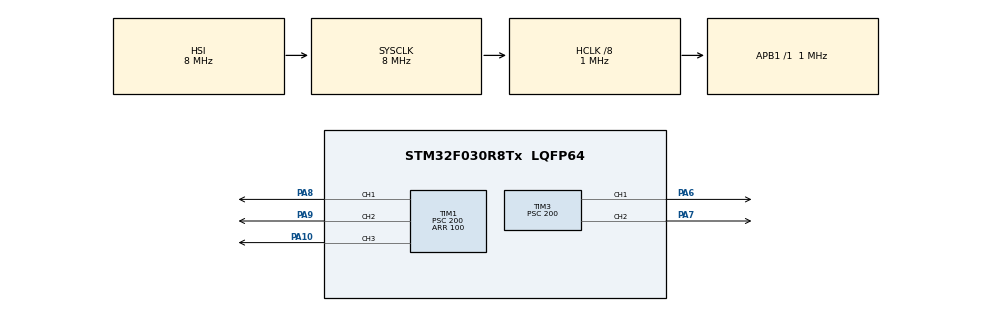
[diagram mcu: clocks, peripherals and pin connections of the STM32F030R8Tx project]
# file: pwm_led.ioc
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Mcu.Family=STM32F0
Mcu.Name=STM32F030R8Tx
Mcu.Package=LQFP64
PA10.Signal=S_TIM1_CH3
PA13.Mode=Serial_Wire
PA13.Signal=SYS_SWDIO
PA14.Mode=Serial_Wire
PA14.Signal=SYS_SWCLK
PA6.Signal=S_TIM3_CH1
PA7.Signal=S_TIM3_CH2
PA8.Signal=S_TIM1_CH1
PA9.Signal=S_TIM1_CH2
PF0-OSC_IN.Mode=HSE-External-Oscillator
PF0-OSC_IN.Signal=RCC_OSC_IN
PF1-OSC_OUT.Mode=HSE-External-Oscillator
PF1-OSC_OUT.Signal=RCC_OSC_OUT
ProjectManager.HeapSize=0x200
ProjectManager.StackSize=0x400
ProjectManager.TargetToolchain=MDK-ARM V5.27
RCC.AHBCLKDivider=RCC_SYSCLK_DIV8
RCC.AHBFreq_Value=1000000
RCC.APB1Freq_Value=1000000
RCC.APB1TimFreq_Value=1000000
RCC.HCLKFreq_Value=1000000
RCC.PLLMUL=RCC_PLL_MUL4
RCC.SYSCLKFreq_VALUE=8000000
SH.S_TIM1_CH1.0=TIM1_CH1,PWM Generation1 CH1
SH.S_TIM1_CH2.0=TIM1_CH2,PWM Generation2 CH2
SH.S_TIM1_CH3.0=TIM1_CH3,PWM Generation3 CH3
SH.S_TIM3_CH1.0=TIM3_CH1,PWM Generation1 CH1
SH.S_TIM3_CH2.0=TIM3_CH2,PWM Generation2 CH2
TIM1.Channel-PWM\ Generation1\ CH1=TIM_CHANNEL_1
TIM1.Channel-PWM\ Generation2\ CH2=TIM_CHANNEL_2
TIM1.Channel-PWM\ Generation3\ CH3=TIM_CHANNEL_3
TIM1.Period=100
TIM1.Prescaler=200
TIM3.Channel-PWM\ Generation1\ CH1=TIM_CHANNEL_1
TIM3.Channel-PWM\ Generation2\ CH2=TIM_CHANNEL_2
TIM3.Period=100
TIM3.Prescaler=200
VP_TIM1_VS_ClockSourceINT.Mode=Internal
VP_TIM3_VS_ClockSourceINT.Mode=Internal
board=custom

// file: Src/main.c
/* USER CODE BEGIN Header */
/**
  ******************************************************************************
  * @file           : main.c
  * @brief          : Main program body
  * @Author         : How Jin Wong
  ******************************************************************************
  * @attention
  *
  * <h2><center>&copy; Copyright (c) 2019 STMicroelectronics.
  * All rights reserved.</center></h2>
  *
  * This software component is licensed by ST under BSD 3-Clause license,
  * the "License"; You may not use this file except in compliance with the
  * License. You may obtain a copy of the License at:
  *                        opensource.org/licenses/BSD-3-Clause
  *
  ******************************************************************************
  */
/* USER CODE END Header */

#include "main.h"
#include <stdio.h>

TIM_HandleTypeDef htim1;
TIM_HandleTypeDef htim3;

void SystemClock_Config(void);
static void MX_GPIO_Init(void);
static void MX_TIM1_Init(void);
static void MX_TIM3_Init(void);

int main(void)
{
    struct motor_mode motor_data;
		motor_data.loop = 1;
    //default and testing position
    // motor_data.Xcoord = 1;
    // motor_data.Ycoord = 1;

    // motor_data.motor1_angle = 180;
    // double degrees2 = 90;
    // double degrees3 = 45;
    // double degrees4 = 30;
    // double degrees5 = 15;

  /* MCU Configuration--------------------------------------------------------*/

  /* Reset of all peripherals, Initializes the Flash interface and the Systick. */
  HAL_Init();
  SystemClock_Config();
  MX_GPIO_Init();
  MX_TIM1_Init();
  MX_TIM3_Init();
	HAL_TIM_PWM_Start(&htim1, TIM_CHANNEL_1);
	HAL_TIM_PWM_Start(&htim1, TIM_CHANNEL_2);
	HAL_TIM_PWM_Start(&htim1, TIM_CHANNEL_3);
	HAL_TIM_PWM_Start(&htim3, TIM_CHANNEL_1);
	HAL_TIM_PWM_Start(&htim3, TIM_CHANNEL_2);

	//TIM1->ARR = 65535;
	//TIM1->CCR1 = 50;
	//TIM1->CCR2 = 50;
	//htim1.Instance->CCR1 = 50;		// 50% duty cycle
	//htim1.Instance->CCR2 = 50;		// 50% duty cycle
	//TIM1->CCR2 = 65535;		// GREEN
	//TIM1->CCR3 = 65535;		// RED
  /* USER CODE END 2 */

  /* Infinite loop */
  /* USER CODE BEGIN WHILE */
  //------------------------------------------------------------------------
  //****Need to check the ON Button before the While Loop*************
  while (1)
  {
    /* USER CODE END WHILE */
			// double dutyCycle1 = motor_Control(degrees1);
			// double dutyCycle2 = motor_Control(degrees2);
			// double dutyCycle3 = motor_Control(degrees3);
			// double dutyCycle4 = motor_Control(degrees4);
			// double dutyCycle5 = motor_Control(degrees5);

    /* USER CODE BEGIN 3 */
			read_IO(&motor_data);
      Move_Decision(&motor_data);
			motor_Control(&motor_data);
			htim3.Instance->CCR2 = 1;		// Motor 5 (PIN D11)
			HAL_Delay(200000);
			//htim1.Instance->CCR1 = 12;		// Motor 1 (PIN D7) 12 is at 0 degree, 3 is at 90 degrees
			__HAL_TIM_SET_COMPARE(&htim1, TIM_CHANNEL_1, 500);
			HAL_Delay(200000);
			//htim1.Instance->CCR2 = 0;
			HAL_Delay(200000);
			//htim1.Instance->CCR3 = 0;
			HAL_Delay(200000);
			//htim3.Instance->CCR1 = 0;

			//htim1.Instance->CCR2 = motor_data.dutyCycle2 + 1.3;		// Motor 2 (PIN D8) 7 is 90 degrees
			//htim1.Instance->CCR3 = motor_data.dutyCycle3 - 4;		// Motor 3 (PIN D2)   //10 (180 degree) 3 to 10 (140 degree range)
			//htim3.Instance->CCR1 = motor_data.dutyCycle4 + 3;		// Motor 4 (PIN D12)  //3 to 12 (180 degree)

			htim3.Instance->CCR2 = 12;		// Motor 5 (PIN D11)
			htim1.Instance->CCR1 = 200;		// Motor 1 (PIN D7)

			HAL_Delay(500000);
			//for (int i = 0; i < 15; i++)
			//{
			//	htim3.Instance->CCR2 = i;		// Motor 5 (PIN D11)
			//}
			HAL_Delay(20000);
			motor_data.loop++;

			if (motor_data.loop > 3)
			{
				motor_data.loop = 2;
			}
			//htim3.Instance->CCR2 = 3;
		// }

		//htim1.Instance->CCR1 = dutyCycle + 5;		// 10% duty cycle
		//htim1.Instance->CCR2 = dutyCycle + 5;		// 10% duty cycle

		//HAL_Delay(2000);
  }
  /* USER CODE END 3 */
}

void SystemClock_Config(void)
{
  RCC_OscInitTypeDef RCC_OscInitStruct = {0};
  RCC_ClkInitTypeDef RCC_ClkInitStruct = {0};

  /** Initializes the CPU, AHB and APB busses clocks
  */
  RCC_OscInitStruct.OscillatorType = RCC_OSCILLATORTYPE_HSI;
  RCC_OscInitStruct.HSIState = RCC_HSI_ON;
  RCC_OscInitStruct.HSICalibrationValue = RCC_HSICALIBRATION_DEFAULT;
  RCC_OscInitStruct.PLL.PLLState = RCC_PLL_NONE;
  if (HAL_RCC_OscConfig(&RCC_OscInitStruct) != HAL_OK)
  {
    Error_Handler();
  }
  /** Initializes the CPU, AHB and APB busses clocks
  */
  RCC_ClkInitStruct.ClockType = RCC_CLOCKTYPE_HCLK|RCC_CLOCKTYPE_SYSCLK
                              |RCC_CLOCKTYPE_PCLK1;
  RCC_ClkInitStruct.SYSCLKSource = RCC_SYSCLKSOURCE_HSI;
  RCC_ClkInitStruct.AHBCLKDivider = RCC_SYSCLK_DIV8;
  RCC_ClkInitStruct.APB1CLKDivider = RCC_HCLK_DIV1;

  if (HAL_RCC_ClockConfig(&RCC_ClkInitStruct, FLASH_LATENCY_0) != HAL_OK)
  {
    Error_Handler();
  }
}

static void MX_TIM1_Init(void)
{

  TIM_ClockConfigTypeDef sClockSourceConfig = {0};
  TIM_MasterConfigTypeDef sMasterConfig = {0};
  TIM_OC_InitTypeDef sConfigOC = {0};
  TIM_BreakDeadTimeConfigTypeDef sBreakDeadTimeConfig = {0};

  htim1.Instance = TIM1;
  htim1.Init.Prescaler = 2;
  htim1.Init.CounterMode = TIM_COUNTERMODE_UP;
  htim1.Init.Period = 10000;
  htim1.Init.ClockDivision = TIM_CLOCKDIVISION_DIV1;
  htim1.Init.RepetitionCounter = 0;
  htim1.Init.AutoReloadPreload = TIM_AUTORELOAD_PRELOAD_DISABLE;
  if (HAL_TIM_Base_Init(&htim1) != HAL_OK)
  {
    Error_Handler();
  }
  sClockSourceConfig.ClockSource = TIM_CLOCKSOURCE_INTERNAL;
  if (HAL_TIM_ConfigClockSource(&htim1, &sClockSourceConfig) != HAL_OK)
  {
    Error_Handler();
  }
  if (HAL_TIM_PWM_Init(&htim1) != HAL_OK)
  {
    Error_Handler();
  }
  sMasterConfig.MasterOutputTrigger = TIM_TRGO_RESET;
  sMasterConfig.MasterSlaveMode = TIM_MASTERSLAVEMODE_DISABLE;
  if (HAL_TIMEx_MasterConfigSynchronization(&htim1, &sMasterConfig) != HAL_OK)
  {
    Error_Handler();
  }
  sConfigOC.OCMode = TIM_OCMODE_PWM1;
  sConfigOC.Pulse = 0;
  sConfigOC.OCPolarity = TIM_OCPOLARITY_HIGH;
  sConfigOC.OCNPolarity = TIM_OCNPOLARITY_HIGH;
  sConfigOC.OCFastMode = TIM_OCFAST_DISABLE;
  sConfigOC.OCIdleState = TIM_OCIDLESTATE_RESET;
  sConfigOC.OCNIdleState = TIM_OCNIDLESTATE_RESET;
  if (HAL_TIM_PWM_ConfigChannel(&htim1, &sConfigOC, TIM_CHANNEL_1) != HAL_OK)
  {
    Error_Handler();
  }
  if (HAL_TIM_PWM_ConfigChannel(&htim1, &sConfigOC, TIM_CHANNEL_2) != HAL_OK)
  {
    Error_Handler();
  }
  if (HAL_TIM_PWM_ConfigChannel(&htim1, &sConfigOC, TIM_CHANNEL_3) != HAL_OK)
  {
    Error_Handler();
  }
  sBreakDeadTimeConfig.OffStateRunMode = TIM_OSSR_DISABLE;
  sBreakDeadTimeConfig.OffStateIDLEMode = TIM_OSSI_DISABLE;
  sBreakDeadTimeConfig.LockLevel = TIM_LOCKLEVEL_OFF;
  sBreakDeadTimeConfig.DeadTime = 0;
  sBreakDeadTimeConfig.BreakState = TIM_BREAK_DISABLE;
  sBreakDeadTimeConfig.BreakPolarity = TIM_BREAKPOLARITY_HIGH;
  sBreakDeadTimeConfig.AutomaticOutput = TIM_AUTOMATICOUTPUT_DISABLE;
  if (HAL_TIMEx_ConfigBreakDeadTime(&htim1, &sBreakDeadTimeConfig) != HAL_OK)
  {
    Error_Handler();
  }
  HAL_TIM_MspPostInit(&htim1);

}

static void MX_TIM3_Init(void)
{

  TIM_ClockConfigTypeDef sClockSourceConfig = {0};
  TIM_MasterConfigTypeDef sMasterConfig = {0};
  TIM_OC_InitTypeDef sConfigOC = {0};

  htim3.Instance = TIM3;
  htim3.Init.Prescaler = 200;
  htim3.Init.CounterMode = TIM_COUNTERMODE_UP;
  htim3.Init.Period = 100;
  htim3.Init.ClockDivision = TIM_CLOCKDIVISION_DIV1;
  htim3.Init.AutoReloadPreload = TIM_AUTORELOAD_PRELOAD_DISABLE;
  if (HAL_TIM_Base_Init(&htim3) != HAL_OK)
  {
    Error_Handler();
  }
  sClockSourceConfig.ClockSource = TIM_CLOCKSOURCE_INTERNAL;
  if (HAL_TIM_ConfigClockSource(&htim3, &sClockSourceConfig) != HAL_OK)
  {
    Error_Handler();
  }
  if (HAL_TIM_PWM_Init(&htim3) != HAL_OK)
  {
    Error_Handler();
  }
  sMasterConfig.MasterOutputTrigger = TIM_TRGO_RESET;
  sMasterConfig.MasterSlaveMode = TIM_MASTERSLAVEMODE_DISABLE;
  if (HAL_TIMEx_MasterConfigSynchronization(&htim3, &sMasterConfig) != HAL_OK)
  {
    Error_Handler();
  }
  sConfigOC.OCMode = TIM_OCMODE_PWM1;
  sConfigOC.Pulse = 0;
  sConfigOC.OCPolarity = TIM_OCPOLARITY_HIGH;
  sConfigOC.OCFastMode = TIM_OCFAST_DISABLE;
  if (HAL_TIM_PWM_ConfigChannel(&htim3, &sConfigOC, TIM_CHANNEL_1) != HAL_OK)
  {
    Error_Handler();
  }
  if (HAL_TIM_PWM_ConfigChannel(&htim3, &sConfigOC, TIM_CHANNEL_2) != HAL_OK)
  {
    Error_Handler();
  }
  HAL_TIM_MspPostInit(&htim3);

}

static void MX_GPIO_Init(void)
{

  /* GPIO Ports Clock Enable */
  __HAL_RCC_GPIOF_CLK_ENABLE();
  __HAL_RCC_GPIOA_CLK_ENABLE();

}

void Error_Handler(void)
{
}

/************************ (C) COPYRIGHT STMicroelectronics *****END OF FILE****/
